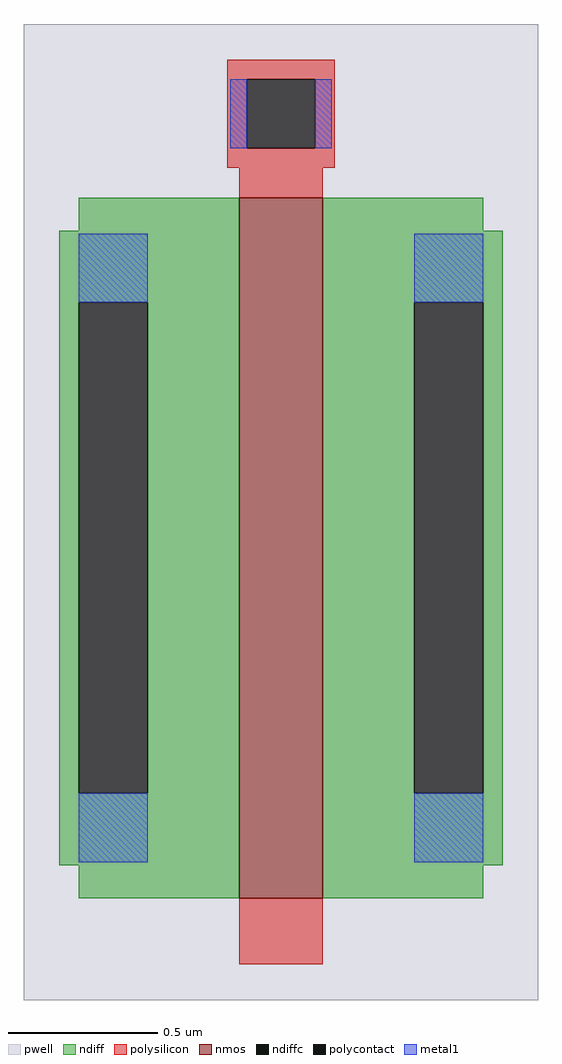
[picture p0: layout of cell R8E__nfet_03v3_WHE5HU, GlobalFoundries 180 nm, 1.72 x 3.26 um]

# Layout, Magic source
magic
tech gf180mcuD
magscale 1 10
<< pwell >>
rect -172 -326 172 326
<< nmos >>
rect -28 -258 28 210
<< ndiff >>
rect -135 188 -28 210
rect -148 140 -28 188
rect -148 -188 -135 140
rect -89 -188 -28 140
rect -148 -236 -28 -188
rect -135 -258 -28 -236
rect 28 188 135 210
rect 28 140 148 188
rect 28 -188 89 140
rect 135 -188 148 140
rect 28 -236 148 -188
rect 28 -258 135 -236
<< ndiffc >>
rect -135 -188 -89 140
rect 89 -188 135 140
<< polysilicon >>
rect -36 289 36 302
rect -36 243 -23 289
rect 23 243 36 289
rect -36 230 36 243
rect -28 210 28 230
rect -28 -302 28 -258
<< polycontact >>
rect -23 243 23 289
<< metal1 >>
rect -34 243 -23 289
rect 23 243 34 289
rect -135 140 -89 186
rect -135 -234 -89 -188
rect 89 140 135 186
rect 89 -234 135 -188
<< properties >>
string GDS_END 138922
string GDS_FILE ../native_sources/A44_A_Q2_BEFORE_ESD.gds
string GDS_START 137446
<< end >>
